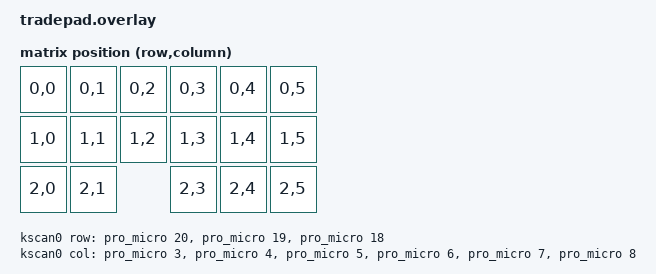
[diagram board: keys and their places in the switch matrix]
#include <dt-bindings/zmk/keys.h>
#include <behaviors.dtsi>

/ {
    chosen {
        zmk,kscan = &kscan0;
        zmk,matrix-transform = &default_transform;
    };

    kscan0: kscan {
        compatible = "zmk,kscan-gpio-matrix";
        row-gpios
            = <&pro_micro 20 (GPIO_ACTIVE_HIGH)>   // верхний ряд p0.29 (d20)
            , <&pro_micro 19 (GPIO_ACTIVE_HIGH)>   // средний ряд p0.02 (d19)
            , <&pro_micro 18 (GPIO_ACTIVE_HIGH)>;  // нижний ряд p1.15 (d18)

        col-gpios
            = <&pro_micro  3 (GPIO_ACTIVE_HIGH)>   // колонка 1 p0.20 (d3)
            , <&pro_micro  4 (GPIO_ACTIVE_HIGH)>   // колонка 2 p0.22 (d4)
            , <&pro_micro  5 (GPIO_ACTIVE_HIGH)>   // колонка 3 p0.24 (d5)
            , <&pro_micro  6 (GPIO_ACTIVE_HIGH)>   // колонка 4 p1.00 (d6)
            , <&pro_micro  7 (GPIO_ACTIVE_HIGH)>   // колонка 5 p0.11 (d7)
            , <&pro_micro  8 (GPIO_ACTIVE_HIGH)>;  // колонка 6 p1.04 (d8)
    };

    default_transform: matrix_transform {
        compatible = "zmk,matrix-transform";
        rows = <3>;
        columns = <6>;
        map = <
            RC(0,0) RC(0,1) RC(0,2) RC(0,3) RC(0,4) RC(0,5)
            RC(1,0) RC(1,1) RC(1,2) RC(1,3) RC(1,4) RC(1,5)
            RC(2,0) RC(2,1)          RC(2,3) RC(2,4) RC(2,5)
        >;
    };
};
